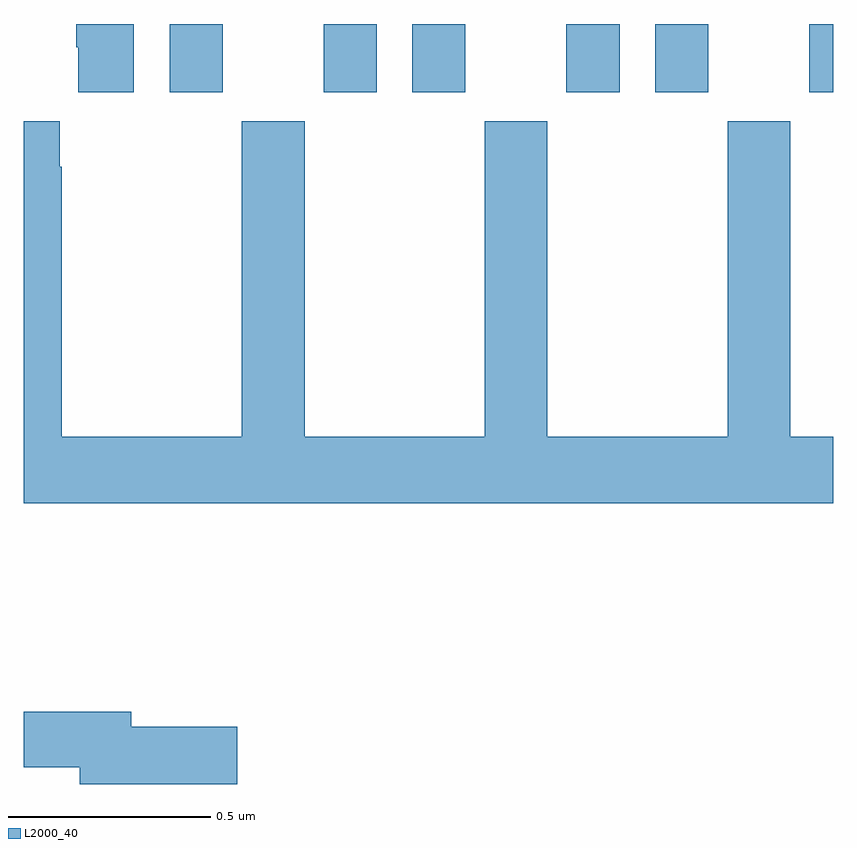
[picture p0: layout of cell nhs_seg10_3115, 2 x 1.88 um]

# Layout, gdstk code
import gdstk
lib = gdstk.Library(unit=1e-6, precision=1e-09)
def R(c, l, rs):  # rectangles x0, y0, x1, y1
    for r in rs: c.add(gdstk.rectangle(r[:2], r[2:], *l))
def P(c, l, *ps):  # polygons
    for p in ps: c.add(gdstk.Polygon(p, *l))
L2000_40 = (2000, 40)

nhs_seg10_3115 = lib.new_cell('nhs_seg10_3115')
R(nhs_seg10_3115, L2000_40, [(149.36,1301.331,149.491,1301.5), (149.741,1301.331,149.872,1301.5), (149.96,1301.331,150.091,1301.5), (150.341,1301.331,150.472,1301.5), (150.56,1301.331,150.691,1301.5), (150.941,1301.331,151,1301.5)])
P(nhs_seg10_3115, L2000_40, [(149.272,1301.5),(149.129,1301.5),(149.129,1301.443),(149.135,1301.443),(149.135,1301.331),(149.272,1301.331)],
  [(151,1300.48),(150.894,1300.48),(150.894,1301.26),(150.739,1301.26),(150.739,1300.48),(150.294,1300.48),(150.294,1301.26),(150.139,1301.26),(150.139,1300.48),(149.694,1300.48),(149.694,1301.26),(149.539,1301.26),(149.539,1300.48),(149.094,1300.48),(149.094,1301.147),(149.089,1301.147),(149.089,1301.26),(149,1301.26),(149,1300.316),(151,1300.316)],
  [(149.527,1299.764),(149.266,1299.764),(149.266,1299.8),(149,1299.8),(149,1299.664),(149.138,1299.664),(149.138,1299.622),(149.527,1299.622)])

lib.write_gds('nhs_seg10_3115.gds')
